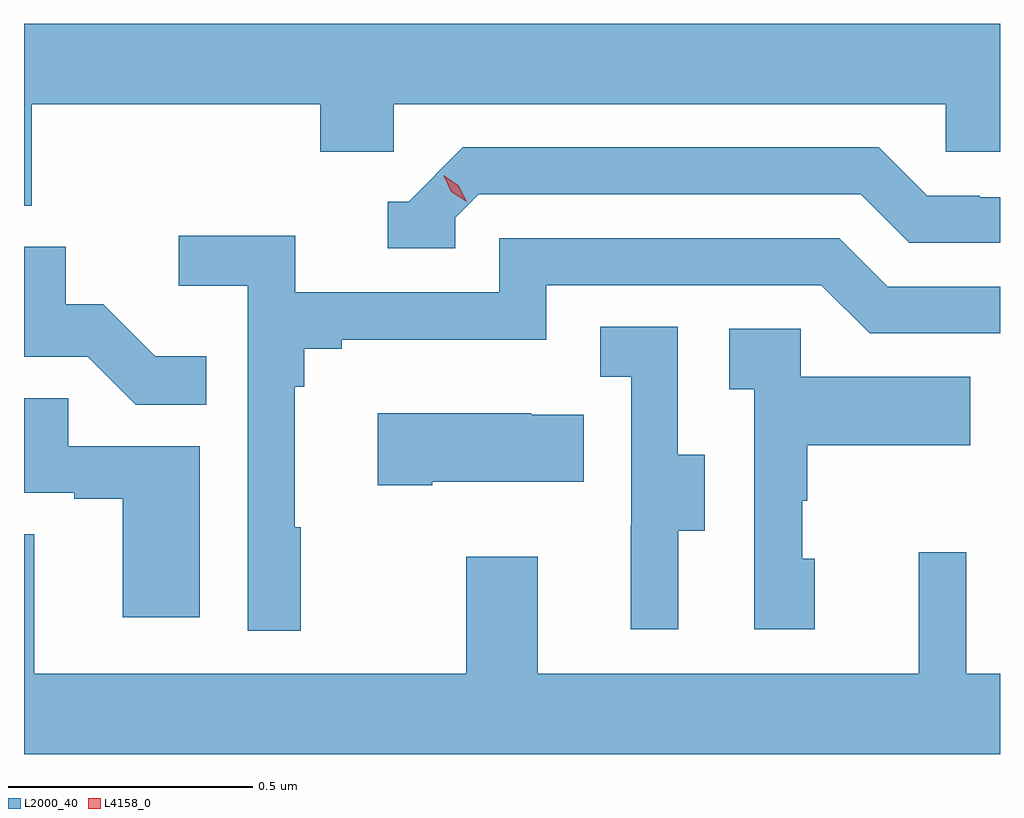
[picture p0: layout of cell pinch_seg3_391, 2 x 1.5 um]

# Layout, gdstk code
import gdstk
lib = gdstk.Library(unit=1e-6, precision=1e-09)
def P(c, l, *ps):  # polygons
    for p in ps: c.add(gdstk.Polygon(p, *l))
L2000_40 = (2000, 40)
L4158_0 = (4158, 0)

pinch_seg3_391 = lib.new_cell('pinch_seg3_391')
P(pinch_seg3_391, L2000_40, [(970.352,687.596),(970.943,687.596),(970.943,687.498),(971.094,687.498),(971.094,687.596),(972.225,687.596),(972.225,687.498),(972.336,687.498),(972.336,687.76),(970.336,687.76),(970.336,687.388),(970.352,687.388)],
  [(971.22,687.363),(971.268,687.411),(972.051,687.411),(972.15,687.312),(972.336,687.312),(972.336,687.405),(972.294,687.405),(972.294,687.408),(972.187,687.408),(972.088,687.507),(971.235,687.507),(971.124,687.396),(971.081,687.396),(971.081,687.3),(971.22,687.3)],
  [(970.903,686.729),(970.891,686.729),(970.891,687.017),(970.91,687.017),(970.91,687.094),(970.987,687.094),(970.987,687.113),(971.406,687.113),(971.406,687.225),(971.97,687.225),(972.069,687.126),(972.336,687.126),(972.336,687.222),(972.106,687.222),(972.007,687.321),(971.31,687.321),(971.31,687.21),(970.892,687.21),(970.892,687.326),(970.653,687.326),(970.653,687.224),(970.794,687.224),(970.794,686.517),(970.903,686.517)],
  [(970.709,687.079),(970.605,687.079),(970.498,687.186),(970.422,687.186),(970.422,687.303),(970.336,687.303),(970.336,687.078),(970.467,687.078),(970.565,686.98),(970.709,686.98)],
  [(971.677,686.722),(971.731,686.722),(971.731,686.877),(971.676,686.877),(971.676,687.14),(971.517,687.14),(971.517,687.037),(971.58,687.037),(971.58,686.733),(971.579,686.733),(971.579,686.52),(971.677,686.52)],
  [(971.956,686.664),(971.931,686.664),(971.931,686.783),(971.941,686.783),(971.941,686.897),(972.275,686.897),(972.275,687.037),(971.928,687.037),(971.928,687.135),(971.781,687.135),(971.781,687.011),(971.832,687.011),(971.832,686.52),(971.956,686.52)],
  [(970.696,686.895),(970.427,686.895),(970.427,686.993),(970.336,686.993),(970.336,686.799),(970.439,686.799),(970.439,686.787),(970.538,686.787),(970.538,686.544),(970.696,686.544)],
  [(971.173,686.822),(971.483,686.822),(971.483,686.959),(971.375,686.959),(971.375,686.962),(971.061,686.962),(971.061,686.815),(971.173,686.815)],
  [(972.336,686.428),(972.267,686.428),(972.267,686.677),(972.17,686.677),(972.17,686.428),(971.389,686.428),(971.389,686.668),(971.242,686.668),(971.242,686.428),(970.357,686.428),(970.357,686.714),(970.336,686.714),(970.336,686.264),(972.336,686.264)])
P(pinch_seg3_391, L4158_0, [(971.243,687.396),(971.212,687.416),(971.196,687.449),(971.196,687.449),(971.197,687.449),(971.227,687.429),(971.243,687.396),(971.243,687.396)])

lib.write_gds('pinch_seg3_391.gds')
